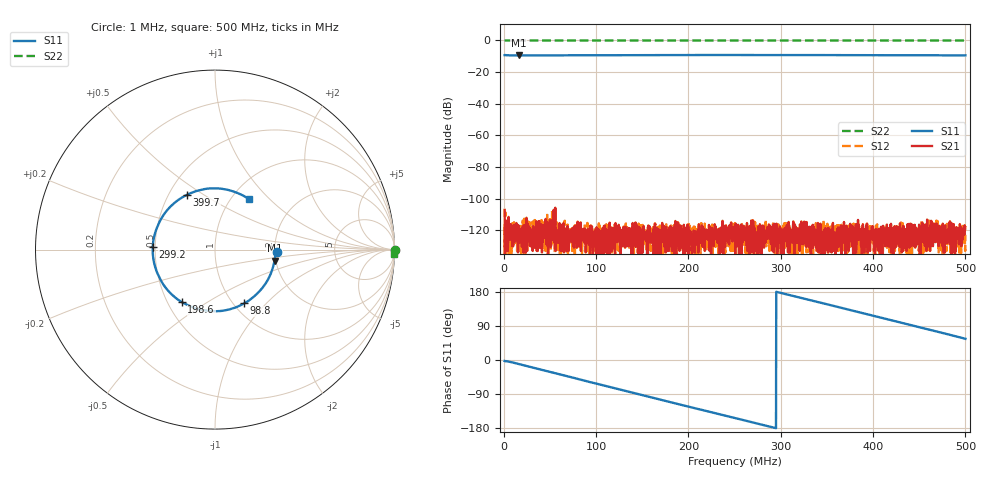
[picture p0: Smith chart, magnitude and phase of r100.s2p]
! MS46122B
! 1746301/73750021
! 11/3/2023 2:22:56 PM
! C:\USERS\SPEGWAL\DOWNLOADS\SAURABH\REACH\NODES\FRONT END\MEASUREMENTS\MEASURED S-PARAMETERS_03-11-2023\MS3-MS4_MS1_CABLE\100OHMS_SOURCE_S11.S2P
! CHANNEL.1
! TR.MEASUREMENT
! CORRECTED.DATA
# GHZ S RI R 50.0
! FREQ.GHZ  S11RE  S11IM  S21RE  S21IM  S12RE  S12IM  S22RE  S22IM
!; PortSelection: Port_12
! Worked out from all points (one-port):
!   2001 points, 1 MHz to 500 MHz, reference 50 ohm
!   lowest |S11| = -9.4 dB at 16.22 MHz (marker M1), VSWR 2.02, Z = 98.4 - j13.7 ohm
!   |S11| at or under -10 dB: nowhere
!   S11 on the Smith chart (normalised r, x): 1 MHz: 2.05, -0.07; 98.8 MHz: 1.12, -0.76; 198.6 MHz: 0.59, -0.39; 299.2 MHz: 0.48, +0.02; 399.7 MHz: 0.62, +0.43; 500 MHz: 1.20, +0.76
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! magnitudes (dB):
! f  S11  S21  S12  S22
! 1 MHz  -9.2  -107.1  -117.7  0.0
! 3.495 MHz  -9.3  -115.2  -121.9  0.0
! 6.239 MHz  -9.4  -120.1  -119.1  0.0
! 8.485 MHz  -9.4  -126.0  -137.0  0.0
! 16.22 MHz  -9.4  -125.9  -124.0  0.0
! 47.41 MHz  -9.4  -123.0  -130.0  0.0
! 84.33 MHz  -9.4  -119.0  -118.9  0.0
! 90.07 MHz  -9.3  -126.0  -128.9  0.0
! 98.8 MHz  -9.4  -120.7  -125.9  0.0
! 132.2 MHz  -9.3  -118.9  -115.6  0.0
! 167.4 MHz  -9.3  -119.6  -128.0  0.0
! 198.6 MHz  -9.2  -117.5  -125.9  0.0
! 218.3 MHz  -9.2  -124.0  -121.0  0.0
! 250.5 MHz  -9.2  -118.6  -123.5  0.0
! 299.2 MHz  -9.2  -117.4  -128.9  0.0
! 333.8 MHz  -9.2  -117.1  -120.5  0.0
! 363.5 MHz  -9.2  -118.4  -123.9  0.0
! 399.7 MHz  -9.3  -117.3  -127.7  0.0
! 416.9 MHz  -9.3  -118.6  -127.7  0.0
! 440.9 MHz  -9.3  -120.1  -130.0  0.0
! 477.5 MHz  -9.4  -122.4  -117.3  0.0
! 500 MHz  -9.4  -117.9  -122.8  0.0
